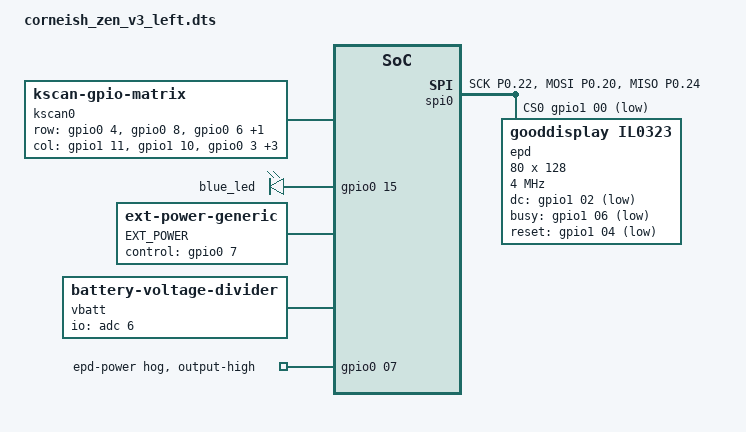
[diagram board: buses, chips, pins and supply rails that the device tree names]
/*
*
* Copyright (c) 2021 Darryl deHaan
* SPDX-License-Identifier: MIT
*
*/

#include "corneish_zen.dtsi"

/{
    chosen {
        zephyr,display = &epd;
        zmk,battery = &vbatt;
    };

    kscan0: kscan {
        compatible = "zmk,kscan-gpio-matrix";
        wakeup-source;

        diode-direction = "col2row";
        row-gpios
            = <&gpio0  4 (GPIO_ACTIVE_HIGH | GPIO_PULL_DOWN)>
            , <&gpio0  8 (GPIO_ACTIVE_HIGH | GPIO_PULL_DOWN)>
            , <&gpio0  6 (GPIO_ACTIVE_HIGH | GPIO_PULL_DOWN)>
            , <&gpio0 26 (GPIO_ACTIVE_HIGH | GPIO_PULL_DOWN)>
            ;

        col-gpios
            = <&gpio1 11 GPIO_ACTIVE_HIGH>
            , <&gpio1 10 GPIO_ACTIVE_HIGH>
            , <&gpio0  3 GPIO_ACTIVE_HIGH>
            , <&gpio0 28 GPIO_ACTIVE_HIGH>
            , <&gpio1 13 GPIO_ACTIVE_HIGH>
            , <&gpio0  2 GPIO_ACTIVE_HIGH>
            ;
    };

    leds {
        compatible = "gpio-leds";
        blue_led: led_0 {
            gpios = <&gpio0 15 GPIO_ACTIVE_HIGH>;
        };
    };

    ext-power {
        compatible = "zmk,ext-power-generic";
        label = "EXT_POWER";
        control-gpios = <&gpio0 7 GPIO_ACTIVE_HIGH>;
    };

    vbatt: vbatt {
        compatible = "zmk,battery-voltage-divider";
        io-channels = <&adc 6>;
        output-ohms = <3000000>;
        full-ohms = <(3000000 + 1000000)>;
    };

};

&gpio0 {
    status = "okay";
    epd-power {
        gpio-hog;
        gpios = <07 GPIO_ACTIVE_HIGH>;
        output-high;
    };
};

&pinctrl {
    spi0_default: spi0_default {
        group1 {
            psels = <NRF_PSEL(SPIM_SCK, 0, 22)>,
                <NRF_PSEL(SPIM_MOSI, 0, 20)>,
                <NRF_PSEL(SPIM_MISO, 0, 24)>;
        };
    };

    spi0_sleep: spi0_sleep {
        group1 {
            psels = <NRF_PSEL(SPIM_SCK, 0, 22)>,
                <NRF_PSEL(SPIM_MOSI, 0, 20)>,
                <NRF_PSEL(SPIM_MISO, 0, 24)>;
            low-power-enable;
        };
    };
};

&spi0 {
    status = "okay";
    compatible = "nordic,nrf-spim";
    pinctrl-0 = <&spi0_default>;
    pinctrl-1 = <&spi0_sleep>;
    pinctrl-names = "default", "sleep";
    cs-gpios = <&gpio1 00 GPIO_ACTIVE_LOW>;

    epd: il0323@0 {
        compatible = "gooddisplay,il0323";
        reg =  <0>;
        width = <80>;
        height = <128>;
        spi-max-frequency = <4000000>;
        dc-gpios = <&gpio1 02 GPIO_ACTIVE_LOW>;
        busy-gpios = <&gpio1 06 GPIO_ACTIVE_LOW>;
        reset-gpios = <&gpio1 04 GPIO_ACTIVE_LOW>;
        pwr = [03 00 26 26];
        cdi = <0xd2>;
        tcon = <0x22>;
    };
};
